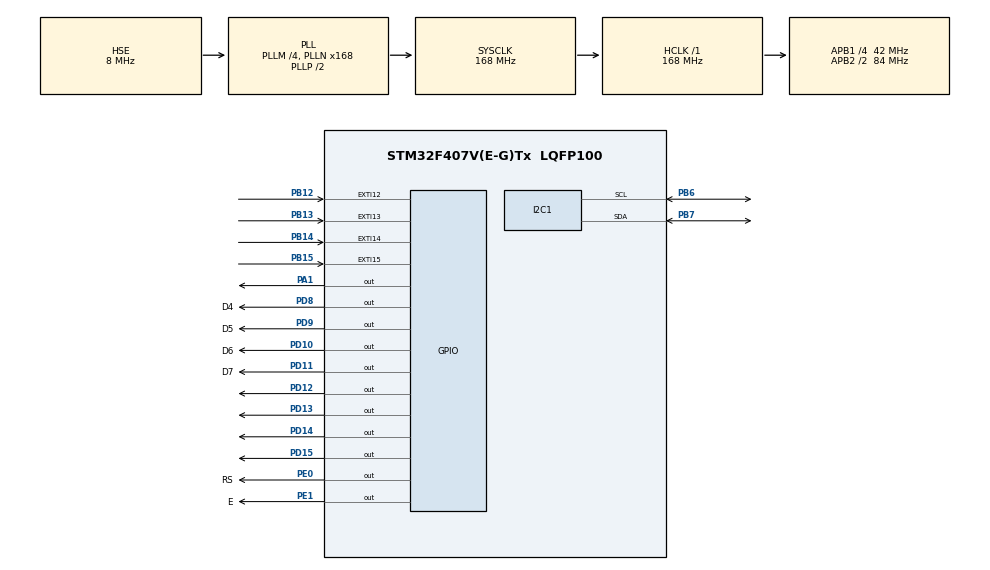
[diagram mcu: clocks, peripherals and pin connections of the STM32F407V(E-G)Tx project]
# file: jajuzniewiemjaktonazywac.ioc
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Mcu.Family=STM32F4
Mcu.Name=STM32F407V(E-G)Tx
Mcu.Package=LQFP100
NVIC.EXTI15_10_IRQn=true\:0\:0\:false\:false\:true\:true\:true
NVIC.PriorityGroup=NVIC_PRIORITYGROUP_4
PA1.Signal=GPIO_Output
PB12.GPIO_PuPd=GPIO_PULLUP
PB12.Signal=GPXTI12
PB13.GPIO_PuPd=GPIO_PULLUP
PB13.Signal=GPXTI13
PB14.GPIO_PuPd=GPIO_PULLUP
PB14.Signal=GPXTI14
PB15.GPIO_PuPd=GPIO_PULLUP
PB15.Signal=GPXTI15
PB6.Mode=I2C
PB6.Signal=I2C1_SCL
PB7.Mode=I2C
PB7.Signal=I2C1_SDA
PD10.GPIO_Label=D6
PD10.Signal=GPIO_Output
PD11.GPIO_Label=D7
PD11.Signal=GPIO_Output
PD12.Signal=GPIO_Output
PD13.Signal=GPIO_Output
PD14.Signal=GPIO_Output
PD15.Signal=GPIO_Output
PD8.GPIO_Label=D4
PD8.Signal=GPIO_Output
PD9.GPIO_Label=D5
PD9.Signal=GPIO_Output
PE0.GPIO_Label=RS
PE0.Signal=GPIO_Output
PE1.GPIO_Label=E
PE1.Signal=GPIO_Output
PH0-OSC_IN.Mode=HSE-External-Oscillator
PH0-OSC_IN.Signal=RCC_OSC_IN
PH1-OSC_OUT.Mode=HSE-External-Oscillator
PH1-OSC_OUT.Signal=RCC_OSC_OUT
ProjectManager.HeapSize=0x200
ProjectManager.StackSize=0x400
ProjectManager.TargetToolchain=STM32CubeIDE
RCC.48MHZClocksFreq_Value=84000000
RCC.AHBFreq_Value=168000000
RCC.APB1CLKDivider=RCC_HCLK_DIV4
RCC.APB1Freq_Value=42000000
RCC.APB1TimFreq_Value=84000000
RCC.APB2CLKDivider=RCC_HCLK_DIV2
RCC.APB2Freq_Value=84000000
RCC.APB2TimFreq_Value=168000000
RCC.CortexFreq_Value=168000000
RCC.HCLKFreq_Value=168000000
RCC.HSE_VALUE=8000000
RCC.HSI_VALUE=16000000
RCC.LSE_VALUE=32768
RCC.PLLM=4
RCC.PLLN=168
RCC.PLLSourceVirtual=RCC_PLLSOURCE_HSE
RCC.SYSCLKFreq_VALUE=168000000
RCC.SYSCLKSource=RCC_SYSCLKSOURCE_PLLCLK
RCC.VCOOutputFreq_Value=336000000
TIM3.Period=0xffff-1
TIM3.Prescaler=84-1
TIM4.Period=49999
TIM4.Prescaler=8399
VP_TIM3_VS_ClockSourceINT.Mode=Internal
VP_TIM4_VS_ClockSourceINT.Mode=Internal
board=custom

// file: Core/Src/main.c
/* USER CODE BEGIN Header */
/**
  ******************************************************************************
  * @file           : main.c
  * @brief          : Main program body
  ******************************************************************************
  * @attention
  *
  * <h2><center>&copy; Copyright (c) 2020 STMicroelectronics.
  * All rights reserved.</center></h2>
  *
  * This software component is licensed by ST under BSD 3-Clause license,
  * the "License"; You may not use this file except in compliance with the
  * License. You may obtain a copy of the License at:
  *                        opensource.org/licenses/BSD-3-Clause
  *
  ******************************************************************************
  */
/* USER CODE END Header */

#include "main.h"

/* USER CODE BEGIN Includes */
#include "rda5807m.h"
#include "stdio.h"
#include "lcd1602.h"
/* USER CODE END Includes */

I2C_HandleTypeDef hi2c1;

TIM_HandleTypeDef htim3;
TIM_HandleTypeDef htim4;

/* USER CODE BEGIN PV */

//DS18B20
int TEMP_beforeComma, TEMP_decimalParts;
float TEMP_floatDecimalParts;
float TEMP_value = 0;
uint8_t TEMP_byte1, TEMP_byte2, DS18B20_presence;
uint16_t TEMP_bytes;
char TEMP_charValue[6];

//RDA5807M
int RADIO_volume = 10;
char RADIO_station[6] = "xxxxxx";

/* USER CODE END PV */

void SystemClock_Config(void);
static void MX_GPIO_Init(void);
static void MX_I2C1_Init(void);
static void MX_TIM3_Init(void);
static void MX_TIM4_Init(void);
/* USER CODE BEGIN PFP */
void delay(uint16_t time){
	__HAL_TIM_SET_COUNTER(&htim3, 0);
	while((__HAL_TIM_GET_COUNTER(&htim3))<time);
}

void HAL_GPIO_EXTI_Callback(uint16_t GPIO_Pin){
	if(HAL_GPIO_ReadPin(GPIOB, GPIO_PIN_12) == GPIO_PIN_SET) { //Volume up
		++RADIO_volume;
		RDA5807M_setVolume(&hi2c1, RADIO_volume);
	}
	if(HAL_GPIO_ReadPin(GPIOB, GPIO_PIN_13) == GPIO_PIN_SET) { //Volume down
		--RADIO_volume;
		RDA5807M_setVolume(&hi2c1, RADIO_volume);
	}
	if(HAL_GPIO_ReadPin(GPIOB, GPIO_PIN_14) == GPIO_PIN_SET) { //Channel down
		RDA5807M_seek(&hi2c1,0);
	}
	if(HAL_GPIO_ReadPin(GPIOB, GPIO_PIN_15) == GPIO_PIN_SET) { //Channel up
		RDA5807M_seek(&hi2c1,1);
	}
}

void HAL_TIM_PeriodElapsedCallback(TIM_HandleTypeDef *htim){
	if(htim->Instance == TIM4){ //Czujnik temperatury
		DS18B20_presence = DS18B20_Start();
		HAL_Delay(1);
		DS18B20_Write(0xCC);
		DS18B20_Write(0x44);
		HAL_Delay(800);

		DS18B20_presence = DS18B20_Start();
		HAL_Delay(1);
		DS18B20_Write(0xCC);
		DS18B20_Write(0xBE);

		TEMP_byte1 = DS18B20_Read();
		TEMP_byte2 = DS18B20_Read();
		TEMP_bytes = (TEMP_byte2<<8)|TEMP_byte1;
		TEMP_value = (float)TEMP_bytes/16;

		TEMP_beforeComma = (int)TEMP_value;
		TEMP_floatDecimalParts = TEMP_value - TEMP_beforeComma;
		TEMP_decimalParts = trunc(TEMP_floatDecimalParts*10);
		sprintf(TEMP_charValue, "%d.%d",TEMP_beforeComma,TEMP_decimalParts);
	}
}

void convertIntToChar(uint16_t num){
	sprintf(RADIO_station, "%d", num);
}
/* USER CODE END PFP */

int main(void)
{

  /* MCU Configuration--------------------------------------------------------*/

  /* Reset of all peripherals, Initializes the Flash interface and the Systick. */
  HAL_Init();

  /* Configure the system clock */
  SystemClock_Config();

  /* Initialize all configured peripherals */
  MX_GPIO_Init();
  MX_I2C1_Init();
  MX_TIM3_Init();
  MX_TIM4_Init();
  /* USER CODE BEGIN 2 */
  HAL_TIM_Base_Start(&htim3);
  HAL_TIM_Base_Start(&htim4);

  RDA5807M_init(&hi2c1);
  RDA5807M_setFreq(&hi2c1,870);
  RDA5807M_seek(&hi2c1, 1);
  RDA5807M_setVolume(&hi2c1,RADIO_volume);

  LCD1602_Begin4BIT(RS_GPIO_Port, RS_Pin, E_Pin, D4_GPIO_Port, D4_Pin, D5_Pin, D6_Pin, D7_Pin);
  /* USER CODE END 2 */

  /* Infinite loop */
  /* USER CODE BEGIN WHILE */
  while (1)
  {
	  LCD1602_clear();
	  LCD1602_setCursor(1,1);
	  LCD1602_print(TEMP_charValue);
	  LCD1602_setCursor(2,1);
	  convertIntToChar(RDA5807M_getFreq(&hi2c1));
	  LCD1602_print(RADIO_station);

    /* USER CODE END WHILE */

  }
}

void SystemClock_Config(void)
{
  RCC_OscInitTypeDef RCC_OscInitStruct = {0};
  RCC_ClkInitTypeDef RCC_ClkInitStruct = {0};

  /** Configure the main internal regulator output voltage
  */
  __HAL_RCC_PWR_CLK_ENABLE();
  __HAL_PWR_VOLTAGESCALING_CONFIG(PWR_REGULATOR_VOLTAGE_SCALE1);
  /** Initializes the CPU, AHB and APB busses clocks
  */
  RCC_OscInitStruct.OscillatorType = RCC_OSCILLATORTYPE_HSE;
  RCC_OscInitStruct.HSEState = RCC_HSE_ON;
  RCC_OscInitStruct.PLL.PLLState = RCC_PLL_ON;
  RCC_OscInitStruct.PLL.PLLSource = RCC_PLLSOURCE_HSE;
  RCC_OscInitStruct.PLL.PLLM = 4;
  RCC_OscInitStruct.PLL.PLLN = 168;
  RCC_OscInitStruct.PLL.PLLP = RCC_PLLP_DIV2;
  RCC_OscInitStruct.PLL.PLLQ = 4;
  if (HAL_RCC_OscConfig(&RCC_OscInitStruct) != HAL_OK)
  {
    Error_Handler();
  }
  /** Initializes the CPU, AHB and APB busses clocks
  */
  RCC_ClkInitStruct.ClockType = RCC_CLOCKTYPE_HCLK|RCC_CLOCKTYPE_SYSCLK
                              |RCC_CLOCKTYPE_PCLK1|RCC_CLOCKTYPE_PCLK2;
  RCC_ClkInitStruct.SYSCLKSource = RCC_SYSCLKSOURCE_PLLCLK;
  RCC_ClkInitStruct.AHBCLKDivider = RCC_SYSCLK_DIV1;
  RCC_ClkInitStruct.APB1CLKDivider = RCC_HCLK_DIV4;
  RCC_ClkInitStruct.APB2CLKDivider = RCC_HCLK_DIV2;

  if (HAL_RCC_ClockConfig(&RCC_ClkInitStruct, FLASH_LATENCY_5) != HAL_OK)
  {
    Error_Handler();
  }
}

static void MX_I2C1_Init(void)
{

  hi2c1.Instance = I2C1;
  hi2c1.Init.ClockSpeed = 100000;
  hi2c1.Init.DutyCycle = I2C_DUTYCYCLE_2;
  hi2c1.Init.OwnAddress1 = 0;
  hi2c1.Init.AddressingMode = I2C_ADDRESSINGMODE_7BIT;
  hi2c1.Init.DualAddressMode = I2C_DUALADDRESS_DISABLE;
  hi2c1.Init.OwnAddress2 = 0;
  hi2c1.Init.GeneralCallMode = I2C_GENERALCALL_DISABLE;
  hi2c1.Init.NoStretchMode = I2C_NOSTRETCH_DISABLE;
  if (HAL_I2C_Init(&hi2c1) != HAL_OK)
  {
    Error_Handler();
  }

}

static void MX_TIM3_Init(void)
{

  TIM_ClockConfigTypeDef sClockSourceConfig = {0};
  TIM_MasterConfigTypeDef sMasterConfig = {0};

  htim3.Instance = TIM3;
  htim3.Init.Prescaler = 84-1;
  htim3.Init.CounterMode = TIM_COUNTERMODE_UP;
  htim3.Init.Period = 0xffff-1;
  htim3.Init.ClockDivision = TIM_CLOCKDIVISION_DIV1;
  htim3.Init.AutoReloadPreload = TIM_AUTORELOAD_PRELOAD_DISABLE;
  if (HAL_TIM_Base_Init(&htim3) != HAL_OK)
  {
    Error_Handler();
  }
  sClockSourceConfig.ClockSource = TIM_CLOCKSOURCE_INTERNAL;
  if (HAL_TIM_ConfigClockSource(&htim3, &sClockSourceConfig) != HAL_OK)
  {
    Error_Handler();
  }
  sMasterConfig.MasterOutputTrigger = TIM_TRGO_RESET;
  sMasterConfig.MasterSlaveMode = TIM_MASTERSLAVEMODE_DISABLE;
  if (HAL_TIMEx_MasterConfigSynchronization(&htim3, &sMasterConfig) != HAL_OK)
  {
    Error_Handler();
  }

}

static void MX_TIM4_Init(void)
{

  TIM_ClockConfigTypeDef sClockSourceConfig = {0};
  TIM_MasterConfigTypeDef sMasterConfig = {0};

  htim4.Instance = TIM4;
  htim4.Init.Prescaler = 8399;
  htim4.Init.CounterMode = TIM_COUNTERMODE_UP;
  htim4.Init.Period = 49999;
  htim4.Init.ClockDivision = TIM_CLOCKDIVISION_DIV1;
  htim4.Init.AutoReloadPreload = TIM_AUTORELOAD_PRELOAD_DISABLE;
  if (HAL_TIM_Base_Init(&htim4) != HAL_OK)
  {
    Error_Handler();
  }
  sClockSourceConfig.ClockSource = TIM_CLOCKSOURCE_INTERNAL;
  if (HAL_TIM_ConfigClockSource(&htim4, &sClockSourceConfig) != HAL_OK)
  {
    Error_Handler();
  }
  sMasterConfig.MasterOutputTrigger = TIM_TRGO_RESET;
  sMasterConfig.MasterSlaveMode = TIM_MASTERSLAVEMODE_DISABLE;
  if (HAL_TIMEx_MasterConfigSynchronization(&htim4, &sMasterConfig) != HAL_OK)
  {
    Error_Handler();
  }

}

static void MX_GPIO_Init(void)
{
  GPIO_InitTypeDef GPIO_InitStruct = {0};

  /* GPIO Ports Clock Enable */
  __HAL_RCC_GPIOH_CLK_ENABLE();
  __HAL_RCC_GPIOA_CLK_ENABLE();
  __HAL_RCC_GPIOB_CLK_ENABLE();
  __HAL_RCC_GPIOD_CLK_ENABLE();
  __HAL_RCC_GPIOE_CLK_ENABLE();

  /*Configure GPIO pin Output Level */
  HAL_GPIO_WritePin(GPIOA, GPIO_PIN_1, GPIO_PIN_RESET);

  /*Configure GPIO pin Output Level */
  HAL_GPIO_WritePin(GPIOD, D4_Pin|D5_Pin|D6_Pin|D7_Pin
                          |GPIO_PIN_12|GPIO_PIN_13|GPIO_PIN_14|GPIO_PIN_15, GPIO_PIN_RESET);

  /*Configure GPIO pin Output Level */
  HAL_GPIO_WritePin(GPIOE, RS_Pin|E_Pin, GPIO_PIN_RESET);

  /*Configure GPIO pin : PA1 */
  GPIO_InitStruct.Pin = GPIO_PIN_1;
  GPIO_InitStruct.Mode = GPIO_MODE_OUTPUT_PP;
  GPIO_InitStruct.Pull = GPIO_NOPULL;
  GPIO_InitStruct.Speed = GPIO_SPEED_FREQ_LOW;
  HAL_GPIO_Init(GPIOA, &GPIO_InitStruct);

  /*Configure GPIO pins : PB12 PB13 PB14 PB15 */
  GPIO_InitStruct.Pin = GPIO_PIN_12|GPIO_PIN_13|GPIO_PIN_14|GPIO_PIN_15;
  GPIO_InitStruct.Mode = GPIO_MODE_IT_RISING;
  GPIO_InitStruct.Pull = GPIO_PULLUP;
  HAL_GPIO_Init(GPIOB, &GPIO_InitStruct);

  /*Configure GPIO pins : D4_Pin D5_Pin D6_Pin D7_Pin
                           PD12 PD13 PD14 PD15 */
  GPIO_InitStruct.Pin = D4_Pin|D5_Pin|D6_Pin|D7_Pin
                          |GPIO_PIN_12|GPIO_PIN_13|GPIO_PIN_14|GPIO_PIN_15;
  GPIO_InitStruct.Mode = GPIO_MODE_OUTPUT_PP;
  GPIO_InitStruct.Pull = GPIO_NOPULL;
  GPIO_InitStruct.Speed = GPIO_SPEED_FREQ_LOW;
  HAL_GPIO_Init(GPIOD, &GPIO_InitStruct);

  /*Configure GPIO pins : RS_Pin E_Pin */
  GPIO_InitStruct.Pin = RS_Pin|E_Pin;
  GPIO_InitStruct.Mode = GPIO_MODE_OUTPUT_PP;
  GPIO_InitStruct.Pull = GPIO_NOPULL;
  GPIO_InitStruct.Speed = GPIO_SPEED_FREQ_LOW;
  HAL_GPIO_Init(GPIOE, &GPIO_InitStruct);

  /* EXTI interrupt init*/
  HAL_NVIC_SetPriority(EXTI15_10_IRQn, 0, 0);
  HAL_NVIC_EnableIRQ(EXTI15_10_IRQn);

}

void Error_Handler(void)
{
}

/************************ (C) COPYRIGHT STMicroelectronics *****END OF FILE****/
